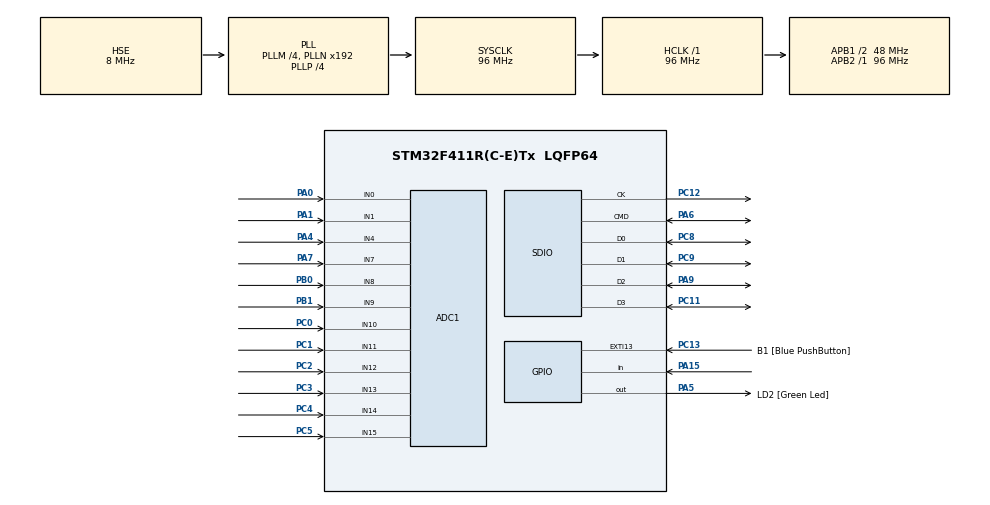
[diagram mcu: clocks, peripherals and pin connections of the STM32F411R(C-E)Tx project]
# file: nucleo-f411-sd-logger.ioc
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ADC1.Channel-12\#ChannelRegularConversion=ADC_CHANNEL_0
ADC1.Channel-13\#ChannelRegularConversion=ADC_CHANNEL_1
ADC1.Channel-14\#ChannelRegularConversion=ADC_CHANNEL_4
ADC1.Channel-15\#ChannelRegularConversion=ADC_CHANNEL_7
ADC1.Channel-16\#ChannelRegularConversion=ADC_CHANNEL_8
ADC1.Channel-17\#ChannelRegularConversion=ADC_CHANNEL_9
ADC1.Channel-18\#ChannelRegularConversion=ADC_CHANNEL_10
ADC1.Channel-19\#ChannelRegularConversion=ADC_CHANNEL_11
ADC1.Channel-20\#ChannelRegularConversion=ADC_CHANNEL_12
ADC1.Channel-21\#ChannelRegularConversion=ADC_CHANNEL_13
ADC1.Channel-22\#ChannelRegularConversion=ADC_CHANNEL_14
ADC1.Channel-23\#ChannelRegularConversion=ADC_CHANNEL_15
ADC1.Channel-24\#ChannelRegularConversion=ADC_CHANNEL_TEMPSENSOR
ADC1.Channel-25\#ChannelRegularConversion=ADC_CHANNEL_VREFINT
ADC1.ClockPrescaler=ADC_CLOCKPRESCALER_PCLK_DIV8
ADC1.ContinuousConvMode=ENABLE
ADC1.DMAContinuousRequests=ENABLE
ADC1.DataAlign=ADC_DATAALIGN_RIGHT
ADC1.DiscontinuousConvMode=DISABLE
ADC1.EOCSelection=EOC_SINGLE_CONV
ADC1.EnableAnalogWatchDog=false
ADC1.ExternalTrigConvEdge=ADC_EXTERNALTRIGCONVEDGE_NONE
ADC1.InjNumberOfConversion=0
ADC1.NbrOfConversion=14
ADC1.NbrOfConversionFlag=1
ADC1.Rank-12\#ChannelRegularConversion=1
ADC1.Rank-13\#ChannelRegularConversion=2
ADC1.Rank-14\#ChannelRegularConversion=3
ADC1.Rank-15\#ChannelRegularConversion=4
ADC1.Rank-16\#ChannelRegularConversion=5
ADC1.Rank-17\#ChannelRegularConversion=6
ADC1.Rank-18\#ChannelRegularConversion=7
ADC1.Rank-19\#ChannelRegularConversion=8
ADC1.Rank-20\#ChannelRegularConversion=9
ADC1.Rank-21\#ChannelRegularConversion=10
ADC1.Rank-22\#ChannelRegularConversion=11
ADC1.Rank-23\#ChannelRegularConversion=12
ADC1.Rank-24\#ChannelRegularConversion=13
ADC1.Rank-25\#ChannelRegularConversion=14
ADC1.Resolution=ADC_RESOLUTION12b
ADC1.SamplingTime-12\#ChannelRegularConversion=ADC_SAMPLETIME_3CYCLES
ADC1.SamplingTime-13\#ChannelRegularConversion=ADC_SAMPLETIME_3CYCLES
ADC1.SamplingTime-14\#ChannelRegularConversion=ADC_SAMPLETIME_3CYCLES
ADC1.SamplingTime-15\#ChannelRegularConversion=ADC_SAMPLETIME_3CYCLES
ADC1.SamplingTime-16\#ChannelRegularConversion=ADC_SAMPLETIME_3CYCLES
ADC1.SamplingTime-17\#ChannelRegularConversion=ADC_SAMPLETIME_3CYCLES
ADC1.SamplingTime-18\#ChannelRegularConversion=ADC_SAMPLETIME_3CYCLES
ADC1.SamplingTime-19\#ChannelRegularConversion=ADC_SAMPLETIME_3CYCLES
ADC1.SamplingTime-20\#ChannelRegularConversion=ADC_SAMPLETIME_3CYCLES
ADC1.SamplingTime-21\#ChannelRegularConversion=ADC_SAMPLETIME_3CYCLES
ADC1.SamplingTime-22\#ChannelRegularConversion=ADC_SAMPLETIME_3CYCLES
ADC1.SamplingTime-23\#ChannelRegularConversion=ADC_SAMPLETIME_3CYCLES
ADC1.SamplingTime-24\#ChannelRegularConversion=ADC_SAMPLETIME_3CYCLES
ADC1.SamplingTime-25\#ChannelRegularConversion=ADC_SAMPLETIME_3CYCLES
ADC1.ScanConvMode=ENABLE
ADC1.master=1
Dma.ADC1.1.Channel=DMA_CHANNEL_0
Dma.ADC1.1.Direction=DMA_PERIPH_TO_MEMORY
Dma.ADC1.1.FIFOMode=DMA_FIFOMODE_DISABLE
Dma.ADC1.1.FIFOThreshold=DMA_FIFO_THRESHOLD_FULL
Dma.ADC1.1.Instance=DMA2_Stream4
Dma.ADC1.1.MemBurst=DMA_MBURST_SINGLE
Dma.ADC1.1.MemDataAlignment=DMA_MDATAALIGN_HALFWORD
Dma.ADC1.1.MemInc=DMA_MINC_ENABLE
Dma.ADC1.1.Mode=DMA_NORMAL
Dma.ADC1.1.PeriphBurst=DMA_PBURST_SINGLE
Dma.ADC1.1.PeriphDataAlignment=DMA_PDATAALIGN_HALFWORD
Dma.ADC1.1.PeriphInc=DMA_PINC_DISABLE
Dma.ADC1.1.Priority=DMA_PRIORITY_MEDIUM
Dma.Request0=SDIO
Dma.Request1=ADC1
Dma.SDIO.0.Channel=DMA_CHANNEL_4
Dma.SDIO.0.Direction=DMA_MEMORY_TO_PERIPH
Dma.SDIO.0.FIFOMode=DMA_FIFOMODE_DISABLE
Dma.SDIO.0.FIFOThreshold=DMA_FIFO_THRESHOLD_FULL
Dma.SDIO.0.Instance=DMA2_Stream3
Dma.SDIO.0.MemBurst=DMA_MBURST_SINGLE
Dma.SDIO.0.MemDataAlignment=DMA_MDATAALIGN_BYTE
Dma.SDIO.0.MemInc=DMA_MINC_DISABLE
Dma.SDIO.0.Mode=DMA_NORMAL
Dma.SDIO.0.PeriphBurst=DMA_PBURST_SINGLE
Dma.SDIO.0.PeriphDataAlignment=DMA_PDATAALIGN_BYTE
Dma.SDIO.0.PeriphInc=DMA_PINC_DISABLE
Dma.SDIO.0.Priority=DMA_PRIORITY_HIGH
Mcu.Family=STM32F4
Mcu.Name=STM32F411R(C-E)Tx
Mcu.Package=LQFP64
NVIC.DMA2_Stream3_IRQn=true\:0\:0\:false
NVIC.DMA2_Stream4_IRQn=true\:0\:0\:false
NVIC.FLASH_IRQn=true\:0\:0\:false
NVIC.PriorityGroup=NVIC_PRIORITYGROUP_0
PA0-WKUP.Signal=ADCx_IN0
PA1.Signal=ADCx_IN1
PA13.GPIO_Label=TMS
PA13.Mode=Trace-Asynchronous_SW
PA13.Signal=SYS_JTMS-SWDIO
PA14.GPIO_Label=TCK
PA14.Mode=Trace-Asynchronous_SW
PA14.Signal=SYS_JTCK-SWCLK
PA15.Signal=GPIO_Input
PA2.GPIO_Label=USART_TX
PA2.GPIO_Mode=GPIO_MODE_AF_PP
PA2.GPIO_PuPd=GPIO_NOPULL
PA2.GPIO_Speed=GPIO_SPEED_HIGH
PA2.Signal=USART2_TX
PA3.GPIO_Label=USART_RX
PA3.GPIO_Mode=GPIO_MODE_AF_PP
PA3.GPIO_PuPd=GPIO_NOPULL
PA3.GPIO_Speed=GPIO_SPEED_HIGH
PA3.Signal=USART2_RX
PA4.Signal=ADCx_IN4
PA5.GPIO_Label=LD2 [Green Led]
PA5.GPIO_ModeDefaultOutputPP=GPIO_MODE_OUTPUT_PP
PA5.GPIO_PuPd=GPIO_NOPULL
PA5.GPIO_Speed=GPIO_SPEED_LOW
PA5.Signal=GPIO_Output
PA6.Mode=SD_4_bits_Wide_bus
PA6.Signal=SDIO_CMD
PA7.Signal=ADCx_IN7
PA9.Mode=SD_4_bits_Wide_bus
PA9.Signal=SDIO_D2
PB0.Signal=ADCx_IN8
PB1.Signal=ADCx_IN9
PB3.GPIO_Label=SWO
PB3.Mode=Trace-Asynchronous_SW
PB3.Signal=SYS_JTDO-SWO
PC0.Signal=ADCx_IN10
PC1.Signal=ADCx_IN11
PC11.Mode=SD_4_bits_Wide_bus
PC11.Signal=SDIO_D3
PC12.Mode=SD_4_bits_Wide_bus
PC12.Signal=SDIO_CK
PC13-ANTI_TAMP.GPIO_Label=B1 [Blue PushButton]
PC13-ANTI_TAMP.GPIO_ModeDefaultEXTI=GPIO_MODE_EVT_RISING
PC13-ANTI_TAMP.GPIO_PuPd=GPIO_NOPULL
PC13-ANTI_TAMP.Signal=GPXTI13
PC14-OSC32_IN.Signal=RCC_OSC32_IN
PC15-OSC32_OUT.Signal=RCC_OSC32_OUT
PC2.Signal=ADCx_IN12
PC3.Signal=ADCx_IN13
PC4.Signal=ADCx_IN14
PC5.Signal=ADCx_IN15
PC8.Mode=SD_4_bits_Wide_bus
PC8.Signal=SDIO_D0
PC9.Mode=SD_4_bits_Wide_bus
PC9.Signal=SDIO_D1
PH0\ -\ OSC_IN.Mode=HSE-External-Oscillator
PH0\ -\ OSC_IN.Signal=RCC_OSC_IN
PH1\ -\ OSC_OUT.Mode=HSE-External-Oscillator
PH1\ -\ OSC_OUT.Signal=RCC_OSC_OUT
ProjectManager.TargetToolchain=SW4STM32
RCC.48MHZClocksFreq_Value=48000000
RCC.AHBFreq_Value=96000000
RCC.APB1CLKDivider=RCC_HCLK_DIV2
RCC.APB1Freq_Value=48000000
RCC.APB1TimFreq_Value=96000000
RCC.APB2Freq_Value=96000000
RCC.APB2TimFreq_Value=96000000
RCC.CortexFreq_Value=96000000
RCC.FLatency-AdvancedSettings=FLASH_LATENCY_2
RCC.HCLKFreq_Value=96000000
RCC.HSE_VALUE=8000000
RCC.HSI_VALUE=16000000
RCC.LSE_VALUE=32768
RCC.PLLM=4
RCC.PLLP=RCC_PLLP_DIV4
RCC.PLLQ=8
RCC.PLLSourceVirtual=RCC_PLLSOURCE_HSE
RCC.SYSCLKFreq_VALUE=96000000
RCC.SYSCLKSource=RCC_SYSCLKSOURCE_PLLCLK
RCC.VCOOutputFreq_Value=384000000
RCC.VDD_VALUE=3.3
SDIO.BusWide=SDIO_BUS_WIDE_1B
SDIO.ClockDiv=2
SDIO.WideMode=SDIO_BUS_WIDE_4B
SH.ADCx_IN0.0=ADC1_IN0,IN0
SH.ADCx_IN1.0=ADC1_IN1,IN1
SH.ADCx_IN10.0=ADC1_IN10,IN10
SH.ADCx_IN11.0=ADC1_IN11,IN11
SH.ADCx_IN12.0=ADC1_IN12,IN12
SH.ADCx_IN13.0=ADC1_IN13,IN13
SH.ADCx_IN14.0=ADC1_IN14,IN14
SH.ADCx_IN15.0=ADC1_IN15,IN15
SH.ADCx_IN4.0=ADC1_IN4,IN4
SH.ADCx_IN7.0=ADC1_IN7,IN7
SH.ADCx_IN8.0=ADC1_IN8,IN8
SH.ADCx_IN9.0=ADC1_IN9,IN9
VP_ADC1_TempSens_Input.Mode=IN-TempSens
VP_ADC1_Vref_Input.Mode=IN-Vrefint
board=custom

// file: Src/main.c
/**
  ******************************************************************************
  * File Name          : main.c
  * Description        : Main program body
  ******************************************************************************
  *
  * COPYRIGHT(c) 2015 STMicroelectronics
  *
  * Redistribution and use in source and binary forms, with or without modification,
  * are permitted provided that the following conditions are met:
  *   1. Redistributions of source code must retain the above copyright notice,
  *      this list of conditions and the following disclaimer.
  *   2. Redistributions in binary form must reproduce the above copyright notice,
  *      this list of conditions and the following disclaimer in the documentation
  *      and/or other materials provided with the distribution.
  *   3. Neither the name of STMicroelectronics nor the names of its contributors
  *      may be used to endorse or promote products derived from this software
  *      without specific prior written permission.
  *
  * THIS SOFTWARE IS PROVIDED BY THE COPYRIGHT HOLDERS AND CONTRIBUTORS "AS IS"
  * AND ANY EXPRESS OR IMPLIED WARRANTIES, INCLUDING, BUT NOT LIMITED TO, THE
  * IMPLIED WARRANTIES OF MERCHANTABILITY AND FITNESS FOR A PARTICULAR PURPOSE ARE
  * DISCLAIMED. IN NO EVENT SHALL THE COPYRIGHT HOLDER OR CONTRIBUTORS BE LIABLE
  * FOR ANY DIRECT, INDIRECT, INCIDENTAL, SPECIAL, EXEMPLARY, OR CONSEQUENTIAL
  * DAMAGES (INCLUDING, BUT NOT LIMITED TO, PROCUREMENT OF SUBSTITUTE GOODS OR
  * SERVICES; LOSS OF USE, DATA, OR PROFITS; OR BUSINESS INTERRUPTION) HOWEVER
  * CAUSED AND ON ANY THEORY OF LIABILITY, WHETHER IN CONTRACT, STRICT LIABILITY,
  * OR TORT (INCLUDING NEGLIGENCE OR OTHERWISE) ARISING IN ANY WAY OUT OF THE USE
  * OF THIS SOFTWARE, EVEN IF ADVISED OF THE POSSIBILITY OF SUCH DAMAGE.
  *
  ******************************************************************************
  */
#include "stm32f4xx_hal.h"

/* USER CODE BEGIN Includes */

#include "string.h"

/* USER CODE END Includes */

ADC_HandleTypeDef hadc1;
DMA_HandleTypeDef hdma_adc1;

SD_HandleTypeDef hsd;
HAL_SD_CardInfoTypedef SDCardInfo;
DMA_HandleTypeDef hdma_sdio;

/* USER CODE BEGIN PV */
/* Private variables ---------------------------------------------------------*/

#define CHANNELS 14
#define ADCBUFS 2
#define SD_BLOCKSIZE 512

#define ADCMODE 2	// 0 -- 8bit, 1 -- 12bit->8bit, 2 -- 12bit

#if ADCMODE > 0
#	define BUF_LEN ((SD_BLOCKSIZE<<5) + (SD_BLOCKSIZE<<4))
	typedef uint16_t adcword_t;
#else
#	define BUF_LEN ((SD_BLOCKSIZE<<6) + (SD_BLOCKSIZE<<5))
	typedef uint8_t adcword_t;
#endif

/* SD_CHANNELS should be a power of 2 minus X and greater or equal to CHANNELS; x == 2 while ADCMODE < 2; x == 1 while ADCMODE >= 2 */
#if ADCMODE >= 2
#	define SD_CHANNELS 15
#else
#	define SD_CHANNELS 14
#endif

#if ADCMODE >= 2
#	define	dst_points (SD_BLOCKSIZE / 2 / (SD_CHANNELS + 1))
#else
#	define	dst_points (SD_BLOCKSIZE / (SD_CHANNELS + 2))
#endif

#define ADC_NOT_FILLED ((adcword_t)~0)

adcword_t adcbufs[ADCBUFS][BUF_LEN] = {{0,1,2,3,4,5,6,7,8,9,10},{0,1,2,3,4,5,6,7,8,9,10}};
adcword_t *parsebuf = &adcbufs[1][0];
adcword_t *adcbuf   = &adcbufs[0][0];
uint8_t   adcbuf_runned = 0;
int adc_running = 0;

#if ADCMODE >= 2
	typedef uint16_t sdword_t;
#else
	typedef uint8_t  sdword_t;
#endif

sdword_t writebuf[SD_BLOCKSIZE];

/* USER CODE END PV */

void SystemClock_Config(void);
static void MX_GPIO_Init(void);
static void MX_DMA_Init(void);
static void MX_ADC1_Init(void);
static void MX_SDIO_SD_Init(void);

/* USER CODE BEGIN PFP */
/* Private function prototypes -----------------------------------------------*/

void error (float error_num, char infinite) {
	//printf("%u\r\n", error_num);
	adc_running = 0;
	if (infinite)
		while (1) {
			int i = 0;
			while (i++ < ((int)((float)(error_num) / 1) + 1) ) {
				GPIOA->BSRR = GPIO_PIN_5;
				HAL_Delay(1000 / error_num);
				GPIOA->BSRR = GPIO_PIN_5 << 16;
				HAL_Delay(1000 / error_num);
			}
		};

	GPIOA->BSRR = GPIO_PIN_5;
	HAL_Delay(1000);
	GPIOA->BSRR = GPIO_PIN_5 << 16;

	int i=0;
	while (i++ < error_num) {
		GPIOA->BSRR = GPIO_PIN_5;
		HAL_Delay(300);
		GPIOA->BSRR = GPIO_PIN_5 << 16;
		HAL_Delay(200);
	}

	HAL_Delay(500);
	NVIC_SystemReset();

	return;
}

void HAL_ADC_ConvCpltCallback (ADC_HandleTypeDef* hadc) {
	return;
}

void HAL_ADC_ErrorCallback (ADC_HandleTypeDef* hadc) {
	NVIC_SystemReset();

	return;
}

void swap_bufs() {
	if (adcbuf_runned == 1) {
		parsebuf = &adcbufs[1][0];
		adcbuf   = &adcbufs[0][0];
		adcbuf_runned = 0;
	} else {
		parsebuf = &adcbufs[0][0];
		adcbuf   = &adcbufs[1][0];
		adcbuf_runned = 1;
	}

	return;
}

void adc_restart() {
	uint32_t i = 0;
	while (parsebuf[i] != ~0 && i < BUF_LEN) parsebuf[i++] = ~0;

	if (adc_running) {
		HAL_ADC_Stop_DMA(&hadc1);
	}

	swap_bufs();

	int err;
	adc_running = 1;

	if ((err = HAL_ADC_Start_DMA(&hadc1, (uint32_t *)adcbuf, BUF_LEN)) != HAL_OK) {
		error(400, 0);
	}

	return;
}

void fill_writebuf(sdword_t *dst_buf, adcword_t *src_buf, uint16_t src_point_start, uint16_t src_points) {
	float k = (float)src_points / (float)dst_points;

	if (k < 1) {
		error(src_points, 1);
		NVIC_SystemReset();	// Too slow ADC
	}

	uint16_t dst_point = 0, src_point = src_point_start;
	uint32_t dst       = 0, src       = src_point*CHANNELS;

#if ADCMODE >= 2
#	define SD_LEN	(SD_BLOCKSIZE / 2)
#else
#	define SD_LEN	 SD_BLOCKSIZE
#endif

	while (dst < SD_LEN) {

#undef SD_LEN

#if ADCMODE >= 2
		dst_buf[dst++] = src_point;
#else
		dst_buf[dst++] = src_point;//ts[src_point];
		dst_buf[dst++] = src_point >> 8;//ts[src_point] << 8;
#endif

		int chan = 0;
		do {
#if ADCMODE == 1
			dst_buf[dst++] = src_buf[src++] >> 4;
#else
			dst_buf[dst++] = src_buf[src++];
#endif
		} while (++chan < CHANNELS);

#if CHANNELS < SD_CHANNELS
		while (chan < SD_CHANNELS) {
			dst_buf[dst++] = 0;
			chan++;
		}
#endif

		dst_point++;

		src_point = (float)src_point_start + (float)dst_point * k + 0.000001;
		src       = src_point * CHANNELS;
	}

	return;
}

sdword_t *fill_writebuf_detailed() {
	static uint32_t cur_pos = 0;
	static uint8_t buf_switched = 0;

	adcword_t *buf;

	if ((cur_pos > BUF_LEN/CHANNELS / 2) && (buf_switched == 0)) {
		adc_restart();
		buf_switched = 1;
	}

	buf = (buf_switched ? parsebuf : adcbuf);

	while (buf[BUF_LEN / 2] == ADC_NOT_FILLED);

	fill_writebuf(writebuf, buf, cur_pos, dst_points);

	cur_pos += dst_points;

	if (cur_pos + dst_points > BUF_LEN/CHANNELS) {
		cur_pos = 0;
		buf_switched = 0;
	}

	return writebuf;
}

sdword_t *fill_writebuf_inseparable() {
	adc_restart();

	// searching the end of the filled part of the buffer
	static uint32_t buf_len = 0;
	uint32_t s = 0, e = BUF_LEN-1;
	do {
		uint32_t c = (e+s)/2;
		if (parsebuf[c] == ADC_NOT_FILLED)
			e = c;
		else
			s = c;
	} while (e-s > 1);
	buf_len = e;

	buf_len /= CHANNELS;
	buf_len *= CHANNELS;

	if (buf_len == 0)
		error(2, 1);

	//uint8_t *new_writebuf = ((old_writebuf == writebuf[0]) ? writebuf[1] : writebuf[0]);

	uint16_t src_points = buf_len / CHANNELS;
	fill_writebuf(writebuf, parsebuf, 0, src_points);

	return writebuf;
}

void sd_write(SD_HandleTypeDef *hsd, uint32_t block, sdword_t *buf) {
	int err;

	GPIOA->BSRR = GPIO_PIN_5;
	int try = 0;

	while ((err = HAL_SD_WriteBlocks(hsd, (uint32_t *)buf, SD_BLOCKSIZE*block, SD_BLOCKSIZE, 1)) != SD_OK && try++ < 120);

	if (err != SD_OK)
		error(err, 0);

	GPIOA->BSRR = GPIO_PIN_5 << 16;

	return;
}

/* USER CODE END PFP */

int main(void)
{

  /* MCU Configuration----------------------------------------------------------*/

  /* Reset of all peripherals, Initializes the Flash interface and the Systick. */
  HAL_Init();

  /* Configure the system clock */
  SystemClock_Config();

  /* Initialize all configured peripherals */
  MX_GPIO_Init();
  MX_DMA_Init();
  MX_ADC1_Init();
  MX_SDIO_SD_Init();

  /* USER CODE BEGIN 2 */
	//HAL_ADC_MspInit(&hadc1);
	HAL_MspInit();
	HAL_SD_MspInit(&hsd);

	//int err;
/*
	if ((err = HAL_ADC_Start(&hadc1)) != HAL_OK) {
		error(400, 0);
	}

	*/

  /* USER CODE END 2 */

  /* Infinite loop */
  /* USER CODE BEGIN WHILE */
	GPIOA->BSRR = GPIO_PIN_5;
	HAL_Delay(100);
	GPIOA->BSRR = GPIO_PIN_5 << 16;
	HAL_Delay(100);

	uint8_t forceDetails = HAL_GPIO_ReadPin(GPIOA, GPIO_PIN_15) == GPIO_PIN_SET;

	memset(writebuf, 0, SD_BLOCKSIZE);

#define S(a) a,sizeof(a)
#if ADCMODE >= 2
	memcpy(writebuf, S("\000voltlogger\000\000\017\024\000NucleoF411SD000\000"));
#else
	memcpy(writebuf, S("\000voltlogger\000\002\016\024\000NucleoF411SD000\000"));
#endif
#undef S

	if (!forceDetails)
		writebuf[12] |= 0x04;

	sd_write(&hsd, 0, writebuf);

	{
		uint32_t i = 0;
		while (adcbuf[i] != ADC_NOT_FILLED && i < BUF_LEN) adcbuf[i++] = ADC_NOT_FILLED;
	}
	adc_restart();

	GPIOA->BSRR = GPIO_PIN_5;
	HAL_Delay(100);
	GPIOA->BSRR = GPIO_PIN_5 << 16;
	HAL_Delay(100);

	static int block = 1;
	while (1)
	{

		sdword_t *cur_writebuf;

		if (forceDetails)
			cur_writebuf = fill_writebuf_detailed();
		else
			cur_writebuf = fill_writebuf_inseparable();

		sd_write(&hsd, block, cur_writebuf);

		block++;

  /* USER CODE END WHILE */

	}

}

/** System Clock Configuration
*/
void SystemClock_Config(void)
{

  RCC_OscInitTypeDef RCC_OscInitStruct;
  RCC_ClkInitTypeDef RCC_ClkInitStruct;

  __PWR_CLK_ENABLE();

  __HAL_PWR_VOLTAGESCALING_CONFIG(PWR_REGULATOR_VOLTAGE_SCALE1);

  RCC_OscInitStruct.OscillatorType = RCC_OSCILLATORTYPE_HSE;
  RCC_OscInitStruct.HSEState = RCC_HSE_ON;
  RCC_OscInitStruct.PLL.PLLState = RCC_PLL_ON;
  RCC_OscInitStruct.PLL.PLLSource = RCC_PLLSOURCE_HSE;
  RCC_OscInitStruct.PLL.PLLM = 4;
  RCC_OscInitStruct.PLL.PLLN = 192;
  RCC_OscInitStruct.PLL.PLLP = RCC_PLLP_DIV4;
  RCC_OscInitStruct.PLL.PLLQ = 8;
  HAL_RCC_OscConfig(&RCC_OscInitStruct);

  RCC_ClkInitStruct.ClockType = RCC_CLOCKTYPE_SYSCLK|RCC_CLOCKTYPE_PCLK1;
  RCC_ClkInitStruct.SYSCLKSource = RCC_SYSCLKSOURCE_PLLCLK;
  RCC_ClkInitStruct.AHBCLKDivider = RCC_SYSCLK_DIV1;
  RCC_ClkInitStruct.APB1CLKDivider = RCC_HCLK_DIV2;
  RCC_ClkInitStruct.APB2CLKDivider = RCC_HCLK_DIV1;
  HAL_RCC_ClockConfig(&RCC_ClkInitStruct, FLASH_LATENCY_2);

  HAL_SYSTICK_Config(HAL_RCC_GetHCLKFreq()/1000);

  HAL_SYSTICK_CLKSourceConfig(SYSTICK_CLKSOURCE_HCLK);

}

/* ADC1 init function */
void MX_ADC1_Init(void)
{

  ADC_ChannelConfTypeDef sConfig;

    /**Configure the global features of the ADC (Clock, Resolution, Data Alignment and number of conversion)
    */
  hadc1.Instance = ADC1;
  hadc1.Init.ClockPrescaler = ADC_CLOCKPRESCALER_PCLK_DIV8;
  hadc1.Init.Resolution = ADC_RESOLUTION12b;
  hadc1.Init.ScanConvMode = ENABLE;
  hadc1.Init.ContinuousConvMode = ENABLE;
  hadc1.Init.DiscontinuousConvMode = DISABLE;
  hadc1.Init.ExternalTrigConvEdge = ADC_EXTERNALTRIGCONVEDGE_NONE;
  hadc1.Init.DataAlign = ADC_DATAALIGN_RIGHT;
  hadc1.Init.NbrOfConversion = 14;
  hadc1.Init.DMAContinuousRequests = ENABLE;
  hadc1.Init.EOCSelection = EOC_SINGLE_CONV;
  HAL_ADC_Init(&hadc1);

    /**Configure for the selected ADC regular channel its corresponding rank in the sequencer and its sample time.
    */
  sConfig.Channel = ADC_CHANNEL_0;
  sConfig.Rank = 1;
  sConfig.SamplingTime = ADC_SAMPLETIME_3CYCLES;
  HAL_ADC_ConfigChannel(&hadc1, &sConfig);

    /**Configure for the selected ADC regular channel its corresponding rank in the sequencer and its sample time.
    */
  sConfig.Channel = ADC_CHANNEL_1;
  sConfig.Rank = 2;
  HAL_ADC_ConfigChannel(&hadc1, &sConfig);

    /**Configure for the selected ADC regular channel its corresponding rank in the sequencer and its sample time.
    */
  sConfig.Channel = ADC_CHANNEL_4;
  sConfig.Rank = 3;
  HAL_ADC_ConfigChannel(&hadc1, &sConfig);

    /**Configure for the selected ADC regular channel its corresponding rank in the sequencer and its sample time.
    */
  sConfig.Channel = ADC_CHANNEL_7;
  sConfig.Rank = 4;
  HAL_ADC_ConfigChannel(&hadc1, &sConfig);

    /**Configure for the selected ADC regular channel its corresponding rank in the sequencer and its sample time.
    */
  sConfig.Channel = ADC_CHANNEL_8;
  sConfig.Rank = 5;
  HAL_ADC_ConfigChannel(&hadc1, &sConfig);

    /**Configure for the selected ADC regular channel its corresponding rank in the sequencer and its sample time.
    */
  sConfig.Channel = ADC_CHANNEL_9;
  sConfig.Rank = 6;
  HAL_ADC_ConfigChannel(&hadc1, &sConfig);

    /**Configure for the selected ADC regular channel its corresponding rank in the sequencer and its sample time.
    */
  sConfig.Channel = ADC_CHANNEL_10;
  sConfig.Rank = 7;
  HAL_ADC_ConfigChannel(&hadc1, &sConfig);

    /**Configure for the selected ADC regular channel its corresponding rank in the sequencer and its sample time.
    */
  sConfig.Channel = ADC_CHANNEL_11;
  sConfig.Rank = 8;
  HAL_ADC_ConfigChannel(&hadc1, &sConfig);

    /**Configure for the selected ADC regular channel its corresponding rank in the sequencer and its sample time.
    */
  sConfig.Channel = ADC_CHANNEL_12;
  sConfig.Rank = 9;
  HAL_ADC_ConfigChannel(&hadc1, &sConfig);

    /**Configure for the selected ADC regular channel its corresponding rank in the sequencer and its sample time.
    */
  sConfig.Channel = ADC_CHANNEL_13;
  sConfig.Rank = 10;
  HAL_ADC_ConfigChannel(&hadc1, &sConfig);

    /**Configure for the selected ADC regular channel its corresponding rank in the sequencer and its sample time.
    */
  sConfig.Channel = ADC_CHANNEL_14;
  sConfig.Rank = 11;
  HAL_ADC_ConfigChannel(&hadc1, &sConfig);

    /**Configure for the selected ADC regular channel its corresponding rank in the sequencer and its sample time.
    */
  sConfig.Channel = ADC_CHANNEL_15;
  sConfig.Rank = 12;
  HAL_ADC_ConfigChannel(&hadc1, &sConfig);

    /**Configure for the selected ADC regular channel its corresponding rank in the sequencer and its sample time.
    */
  sConfig.Channel = ADC_CHANNEL_TEMPSENSOR;
  sConfig.Rank = 13;
  HAL_ADC_ConfigChannel(&hadc1, &sConfig);

    /**Configure for the selected ADC regular channel its corresponding rank in the sequencer and its sample time.
    */
  sConfig.Channel = ADC_CHANNEL_VREFINT;
  sConfig.Rank = 14;
  HAL_ADC_ConfigChannel(&hadc1, &sConfig);

}

/* SDIO init function */
void MX_SDIO_SD_Init(void)
{

  hsd.Instance = SDIO;
  hsd.Init.ClockEdge = SDIO_CLOCK_EDGE_RISING;
  hsd.Init.ClockBypass = SDIO_CLOCK_BYPASS_DISABLE;
  hsd.Init.ClockPowerSave = SDIO_CLOCK_POWER_SAVE_DISABLE;
  hsd.Init.BusWide = SDIO_BUS_WIDE_1B;
  hsd.Init.HardwareFlowControl = SDIO_HARDWARE_FLOW_CONTROL_DISABLE;
  hsd.Init.ClockDiv = 2;
  HAL_SD_Init(&hsd, &SDCardInfo);

  HAL_SD_WideBusOperation_Config(&hsd, SDIO_BUS_WIDE_4B);

}

void MX_DMA_Init(void)
{
  /* DMA controller clock enable */
  __DMA2_CLK_ENABLE();

  /* DMA interrupt init */
  HAL_NVIC_SetPriority(DMA2_Stream3_IRQn, 0, 0);
  HAL_NVIC_EnableIRQ(DMA2_Stream3_IRQn);
  HAL_NVIC_SetPriority(DMA2_Stream4_IRQn, 0, 0);
  HAL_NVIC_EnableIRQ(DMA2_Stream4_IRQn);

}

/** Configure pins as
        * Analog
        * Input
        * Output
        * EVENT_OUT
        * EXTI
     PA2   ------> USART2_TX
     PA3   ------> USART2_RX
*/
void MX_GPIO_Init(void)
{

  GPIO_InitTypeDef GPIO_InitStruct;

  /* GPIO Ports Clock Enable */
  __GPIOC_CLK_ENABLE();
  __GPIOH_CLK_ENABLE();
  __GPIOA_CLK_ENABLE();
  __GPIOB_CLK_ENABLE();

  /*Configure GPIO pin : PC13 */
  GPIO_InitStruct.Pin = GPIO_PIN_13;
  GPIO_InitStruct.Mode = GPIO_MODE_EVT_RISING;
  GPIO_InitStruct.Pull = GPIO_NOPULL;
  HAL_GPIO_Init(GPIOC, &GPIO_InitStruct);

  /*Configure GPIO pins : PA2 PA3 */
  GPIO_InitStruct.Pin = GPIO_PIN_2|GPIO_PIN_3;
  GPIO_InitStruct.Mode = GPIO_MODE_AF_PP;
  GPIO_InitStruct.Pull = GPIO_NOPULL;
  GPIO_InitStruct.Speed = GPIO_SPEED_HIGH;
  GPIO_InitStruct.Alternate = GPIO_AF7_USART2;
  HAL_GPIO_Init(GPIOA, &GPIO_InitStruct);

  /*Configure GPIO pin : PA5 */
  GPIO_InitStruct.Pin = GPIO_PIN_5;
  GPIO_InitStruct.Mode = GPIO_MODE_OUTPUT_PP;
  GPIO_InitStruct.Pull = GPIO_NOPULL;
  GPIO_InitStruct.Speed = GPIO_SPEED_LOW;
  HAL_GPIO_Init(GPIOA, &GPIO_InitStruct);

  /*Configure GPIO pin : PA15 */
  GPIO_InitStruct.Pin = GPIO_PIN_15;
  GPIO_InitStruct.Mode = GPIO_MODE_INPUT;
  GPIO_InitStruct.Pull = GPIO_NOPULL;
  HAL_GPIO_Init(GPIOA, &GPIO_InitStruct);

}

/************************ (C) COPYRIGHT STMicroelectronics *****END OF FILE****/
